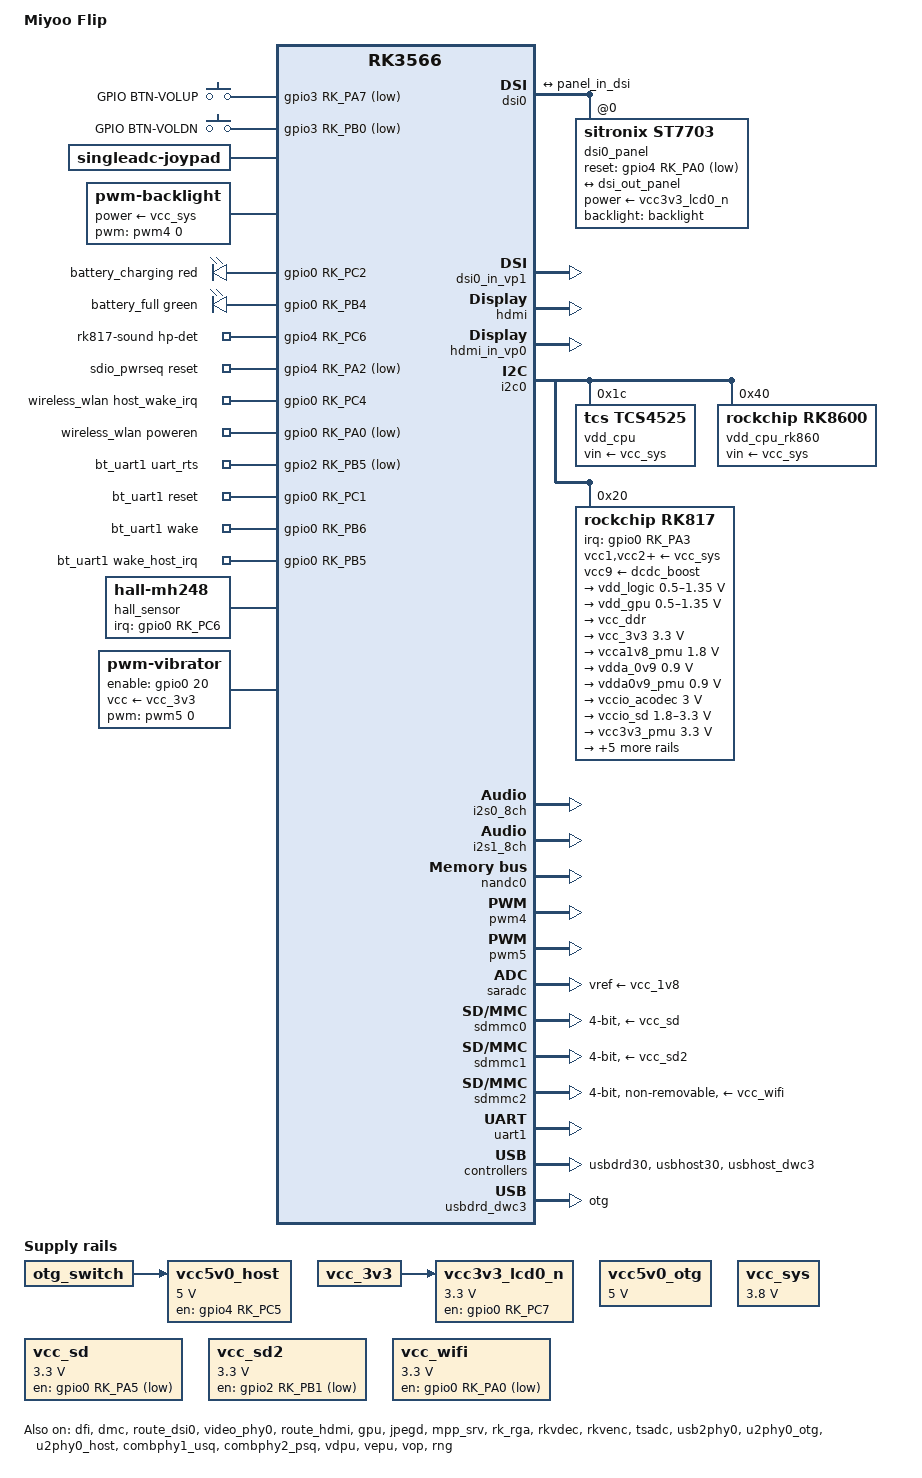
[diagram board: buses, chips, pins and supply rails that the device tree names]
// SPDX-License-Identifier: (GPL-2.0+ OR MIT)
/*
 * Copyright (c) 2020 Rockchip Electronics Co., Ltd.
 *
 */

/dts-v1/;

#include <dt-bindings/gpio/gpio.h>
#include <dt-bindings/pinctrl/rockchip.h>
#include <dt-bindings/input/rk-input.h>
#include <dt-bindings/leds/common.h>
#include <dt-bindings/sensor-dev.h>
#include <dt-bindings/display/drm_mipi_dsi.h>
#include <dt-bindings/display/rockchip_vop.h>
#include "rk3566.dtsi"
/ {
	
	model = "Miyoo Flip";
	compatible = "rockchip,rk3566-rk817-tablet", "rockchip,rk3566";

	aliases {
		mmc1 = &sdhci;
		mmc0 = &sdmmc0;
		mmc2 = &sdmmc1;
		mmc3 = &sdmmc2;
	};

	fiq_debugger: fiq-debugger {
		compatible = "rockchip,fiq-debugger";
		rockchip,serial-id = <2>;
		rockchip,wake-irq = <0>;
		/* If enable uart uses irq instead of fiq */
		rockchip,irq-mode-enable = <1>;
		rockchip,baudrate = <1500000>;  /* Only 115200 and 1500000 */
		interrupts = <GIC_SPI 252 IRQ_TYPE_LEVEL_LOW>;
		pinctrl-names = "default";
		pinctrl-0 = <&uart2m0_xfer>;
		status = "okay";
	};

	reserved-memory {
		#address-cells = <2>;
		#size-cells = <2>;
		ranges;

		cma {
			compatible = "shared-dma-pool";
			reusable;
			size = <0x0 (8 * 0x100000)>;
			linux,cma-default;
		};
	};
	
	gpio-keys-polled {
		compatible = "gpio-keys-polled";
		poll-interval = <10>;
		debounce-interval = <10>;

		pinctrl-0 = <&btn_pins_vol>;
		pinctrl-names = "default";
		
		button@0 {
			label = "GPIO BTN-VOLUP";
			linux,code = <KEY_VOLUMEUP>;
			gpios = <&gpio3 RK_PA7 GPIO_ACTIVE_LOW>;
		};
		button@1 {
			label = "GPIO BTN-VOLDN";
			linux,code = <KEY_VOLUMEDOWN>;
			gpios = <&gpio3 RK_PB0 GPIO_ACTIVE_LOW>;
		};
	};

	joypad: singleadc-joypad {
		compatible = "singleadc-joypad";

		joypad-name = "retrogame_joypad";
		joypad-product = <0x1101>;
		joypad-revision = <0x0100>;
		joypad-vendor = <0x484B>;

		status = "okay";
		
		rocknix,use-miyoo-serial-joypad;

		/* gpio pincontrol setup */
		pinctrl-names = "default";
		/* pinctrl-0 = <&btn_pins_ctrl>; */

		/* adc mux channel count */
		amux-count = <0>;

		/* poll device interval (ms), same as gpio-keys-polled */
		poll-interval = <10>;

		/* D-Pad */
		sw1 {
		        gpios = <&gpio3 RK_PA3 GPIO_ACTIVE_LOW>;
			label = "up";
			linux,code = <0x220>;
		};
		sw2 {
		        gpios = <&gpio3 RK_PA4 GPIO_ACTIVE_LOW>;
			label = "down";
			linux,code = <0x221>;
		};
		sw3 {
		        gpios = <&gpio3 RK_PA5 GPIO_ACTIVE_LOW>;
			label = "left";
			linux,code = <0x222>;
		};
		sw4 {
		        gpios = <&gpio3 RK_PA6 GPIO_ACTIVE_LOW>;
			label = "right";
			linux,code = <0x223>;
		};

		/* Face buttons */
		sw5 {
		        gpios = <&gpio3 RK_PC2 GPIO_ACTIVE_LOW>;
			label = "a";
			linux,code = <0x130>;
		};
		sw6 {
		        gpios = <&gpio3 RK_PC3 GPIO_ACTIVE_LOW>;
			label = "b";
			linux,code = <0x131>;
		};
		sw7 {
		        gpios = <&gpio3 RK_PC1 GPIO_ACTIVE_LOW>;
			label = "x";
			linux,code = <0x133>;
		};
		sw8 {
		        gpios = <&gpio3 RK_PC0 GPIO_ACTIVE_LOW>;
			label = "y";
			linux,code = <0x134>;
		};

		/* Start / Select / Menu */
		sw9 {
		        gpios = <&gpio3 RK_PB6 GPIO_ACTIVE_LOW>;
			label = "select";
			linux,code = <0x13a>;
		};
		sw10 {
		        gpios = <&gpio3 RK_PB5 GPIO_ACTIVE_LOW>;
			label = "start";
			linux,code = <0x13b>;
		};
		sw11 {
		        gpios = <&gpio3 RK_PA1 GPIO_ACTIVE_LOW>;
			label = "menu";
			linux,code = <0x13c>;
		};

		/* Shoulder buttons: L1/L2, R1/R2 */
		sw12 {
		        gpios = <&gpio3 RK_PB1 GPIO_ACTIVE_LOW>;
			label = "l1";
			linux,code = <0x136>;
		};
		sw14 {
		        gpios = <&gpio3 RK_PB2 GPIO_ACTIVE_LOW>;
			label = "l2";
			linux,code = <0x138>;
		};
		sw13 {
		        gpios = <&gpio3 RK_PB3 GPIO_ACTIVE_LOW>;
			label = "r1";
			linux,code = <0x137>;
		};
		sw15 {
		        gpios = <&gpio3 RK_PB4 GPIO_ACTIVE_LOW>;
			label = "r2";
			linux,code = <0x139>;
		};

		/* Thumb sticks: L3/R3 */
		sw16 {
		        gpios = <&gpio2 RK_PC1 GPIO_ACTIVE_HIGH>;
			label = "l3";
			linux,code = <0x13d>;
		};
		sw17 {
		        gpios = <&gpio2 RK_PC0 GPIO_ACTIVE_HIGH>;
			label = "r3";
			linux,code = <0x13e>;
		};
	};

	backlight: backlight {
		compatible = "pwm-backlight";
		pwms = <&pwm4 0 25000 0>; /// 800, 10000, 12500, 25000, 40000

		power-supply = <&vcc_sys>;
///		enable-gpios = <&gpio0 19 GPIO_ACTIVE_LOW>;

		brightness-levels = <
			  0  20  20  21  21  22  22  23
			 23  24  24  25  25  26  26  27
			 27  28  28  29  29  30  30  31
			 31  32  32  33  33  34  34  35
			 35  36  36  37  37  38  38  39
			 40  41  42  43  44  45  46  47
			 48  49  50  51  52  53  54  55
			 56  57  58  59  60  61  62  63
			 64  65  66  67  68  69  70  71
			 72  73  74  75  76  77  78  79
			 80  81  82  83  84  85  86  87
			 88  89  90  91  92  93  94  95
			 96  97  98  99 100 101 102 103
			104 105 106 107 108 109 110 111
			112 113 114 115 116 117 118 119
			120 121 122 123 124 125 126 127
			128 129 130 131 132 133 134 135
			136 137 138 139 140 141 142 143
			144 145 146 147 148 149 150 151
			152 153 154 155 156 157 158 159
			160 161 162 163 164 165 166 167
			168 169 170 171 172 173 174 175
			176 177 178 179 180 181 182 183
			184 185 186 187 188 189 190 191
			192 193 194 195 196 197 198 199
			200 201 202 203 204 205 206 207
			208 209 210 211 212 213 214 215
			216 217 218 219 220 221 222 223
			224 225 226 227 228 229 230 231
			232 233 234 235 236 237 238 239
			240 241 242 243 244 245 246 247
			248 249 250 251 252 253 254 255
		>;
		default-brightness-level = <128>;
	};

	gpio-leds {
		compatible = "gpio-leds";

		led-red {
			color = <LED_COLOR_ID_RED>;
			gpios = <&gpio0 RK_PC2 GPIO_ACTIVE_HIGH>;
			linux,default-trigger = "battery-charging";
			label = "battery_charging";
		};
		
		led-green {
			color = <LED_COLOR_ID_GREEN>;
			gpios = <&gpio0 RK_PB4 GPIO_ACTIVE_HIGH>;
			linux,default-trigger = "battery-full";
			label = "battery_full";
		};		
	};

	charge-animation {
		compatible = "rockchip,uboot-charge";
		rockchip,uboot-charge-on = <1>;
		rockchip,android-charge-on = <0>;
		rockchip,uboot-low-power-voltage = <3350>;
		rockchip,screen-on-voltage = <3400>;
		status = "okay";
	};

	vcc5v0_otg: vcc5v0-otg-regulator {
		compatible = "regulator-fixed";
		enable-active-high;
		regulator-name = "vcc5v0_otg";
		regulator-min-microvolt = <5000000>;
		regulator-max-microvolt = <5000000>;		
		regulator-always-on;
		regulator-boot-on;		
	};

	vcc5v0_host: vcc5v0-host-regulator {
		compatible = "regulator-fixed";
		regulator-name = "vcc5v0_host";
		regulator-always-on;
		regulator-boot-on;
		regulator-min-microvolt = <5000000>;
		regulator-max-microvolt = <5000000>;		
		enable-active-high;
		gpio = <&gpio4 RK_PC5 GPIO_ACTIVE_HIGH>;	/*USB_HOST_PWREN2_H*/
		vin-supply = <&otg_switch>;		
		pinctrl-names = "default";
		pinctrl-0 = <&vcc5v0_host_en>;


	};

	rk817-sound {
		compatible = "simple-audio-card";
		pinctrl-names = "default";
		pinctrl-0 = <&hp_det>;
		
		simple-audio-card,format = "i2s";
		simple-audio-card,name = "rockchip,rk817-codec";
		simple-audio-card,mclk-fs = <256>;

		simple-audio-card,hp-det-gpio = <&gpio4 RK_PC6 GPIO_ACTIVE_HIGH>;

		simple-audio-card,cpu {
			sound-dai = <&i2s1_8ch>;
		};
		simple-audio-card,codec {
			sound-dai = <&rk817_codec>;
		};
	};

	hdmi_sound: hdmi-sound {
		compatible = "rockchip,hdmi";
		rockchip,mclk-fs = <128>;
		rockchip,card-name = "rockchip,hdmi";
		rockchip,cpu = <&i2s0_8ch>;
		rockchip,codec = <&hdmi>;
		rockchip,jack-det;
	};

	vcc_sys: vcc_sys {
		compatible = "regulator-fixed";
		regulator-name = "vcc3v8_sys";
		regulator-always-on;
		regulator-boot-on;
		regulator-min-microvolt = <3800000>;
		regulator-max-microvolt = <3800000>;
	};

	vcc_sd: vcc_sd {
		compatible = "regulator-fixed";
		enable-active-low;
		enable-gpio = <&gpio0 RK_PA5 GPIO_ACTIVE_LOW>;	/*SDMMC_PWREN_L*/
		regulator-min-microvolt = <3300000>;
		regulator-max-microvolt = <3300000>;
		pinctrl-0 = <&vcc_sd_h>;		
		pinctrl-names = "default";
		regulator-name = "vcc_sd";
	};

	vcc_sd2: vcc_sd2 {
		compatible = "regulator-fixed";
		enable-active-low;
		enable-gpio = <&gpio2 RK_PB1 GPIO_ACTIVE_LOW>;	/*SDMMC1_PWREN_L*/
		regulator-min-microvolt = <3300000>;
		regulator-max-microvolt = <3300000>;
		pinctrl-names = "default";
		pinctrl-0 = <&vcc_sd2_h>;
		regulator-name = "vcc_sd2";
	};

	vcc3v3_lcd0_n: vcc3v3-lcd0-n {
		compatible = "regulator-fixed";
		regulator-name = "vcc3v3_lcd0_n";
		regulator-min-microvolt = <3300000>;
		regulator-max-microvolt = <3300000>;
		enable-active-high;
		pinctrl-0 = <&lcd_enable_gpio>;
		pinctrl-names = "default";
		gpio = <&gpio0 RK_PC7 GPIO_ACTIVE_HIGH>;	/*LCD_PWREN_H*/
		vin-supply = <&vcc_3v3>;
		
		regulator-state-mem {
			regulator-off-in-suspend;
		};

	};
	
	vcc_wifi: regulator-vcc-wifi {
		compatible = "regulator-fixed";
		gpio = <&gpio0 RK_PA0 GPIO_ACTIVE_LOW>;
		pinctrl-0 = <&vcc_wifi_h>;
		pinctrl-names = "default";
		regulator-always-on;
		regulator-boot-on;
		regulator-min-microvolt = <3300000>;
		regulator-max-microvolt = <3300000>;
		regulator-name = "vcc_wifi";
	};
	
	sdio_pwrseq: sdio-pwrseq {
		compatible = "mmc-pwrseq-simple";
		clocks = <&rk817 1>;
		clock-names = "ext_clock";
		pinctrl-names = "default";
		pinctrl-0 = <&wifi_enable_h>;		
		post-power-on-delay-ms = <200>;
		reset-gpios = <&gpio4 RK_PA2 GPIO_ACTIVE_LOW>;
	};

	wireless_wlan: wireless-wlan {
		compatible = "wlan-platdata";
		rockchip,grf = <&grf>;
		wifi_chip_type = "rtl8733bu";
		pinctrl-names = "default";
		pinctrl-0 = <&wifi_host_wake_irq>;
		WIFI,host_wake_irq = <&gpio0 RK_PC4 GPIO_ACTIVE_HIGH>;
		WIFI,poweren_gpio = <&gpio0 RK_PA0 GPIO_ACTIVE_LOW>;	/*WIFI_PWREN_L*/
		status = "okay";
	};

	bt_uart1: wireless_bluetooth: wireless-bluetooth {
		compatible = "bluetooth-platdata";
		clocks = <&rk817 1>;
		clock-names = "ext_clock";
		//wifi-bt-power-toggle;
		uart_rts_gpios = <&gpio2 RK_PB5 GPIO_ACTIVE_LOW>;
		pinctrl-names = "default", "rts_gpio";
		pinctrl-0 = <&uart1m0_rtsn>,
			    <&bt_reset_gpio>,
			    <&bt_wake_gpio>,
			    <&bt_irq_gpio>;
		pinctrl-1 = <&uart1_gpios>;
		BT,reset_gpio    = <&gpio0 RK_PC1 GPIO_ACTIVE_HIGH>;
		BT,wake_gpio     = <&gpio0 RK_PB6 GPIO_ACTIVE_HIGH>;
		BT,wake_host_irq = <&gpio0 RK_PB5 GPIO_ACTIVE_HIGH>;
		status = "okay";
	};

	hall_sensor: hall-mh248 {
		compatible = "hall-mh248";
		irq-gpio = <&gpio0 RK_PC6 IRQ_TYPE_EDGE_BOTH>;
		hall-active = <1>;
		status = "okay";
	};

	vibrator: pwm-vibrator {
		compatible = "pwm-vibrator";
		pwm-names = "enable";
		pwms = <&pwm5 0 1000000000 0>;
		
		vcc-supply = <&vcc_3v3>;
		enable-gpios = <&gpio0 20 GPIO_ACTIVE_HIGH>;
	};
};

&cpu0 {
	cpu-supply = <&vdd_cpu>;
};

&csi2_dphy_hw {
	status = "disabled";
};

&csi2_dphy0 {
	status = "disabled";
};


&vp0 {
	rockchip,plane-mask = <(1 << ROCKCHIP_VOP2_CLUSTER0
			| 1 << ROCKCHIP_VOP2_CLUSTER1
			| 1 << ROCKCHIP_VOP2_ESMART0
			| 1 << ROCKCHIP_VOP2_ESMART1
			| 1 << ROCKCHIP_VOP2_SMART0
			| 1 << ROCKCHIP_VOP2_SMART1)>;
	rockchip,primary-plane = <ROCKCHIP_VOP2_SMART0>;
};

/*
&vp0 {
			rockchip,plane-mask = <0x2a>;
			rockchip,primary-plane = <0x5>;
};

&vp1 {
			rockchip,plane-mask = <0x15>;
			rockchip,primary-plane = <0x4>;
};
*/

&dfi {
	status = "okay";
};

&dmc {
	center-supply = <&vdd_logic>;
	status = "okay";
};

&dsi0 {
	status = "okay";
	rockchip,lane-rate = <500>;

	dsi0_panel: panel@0 {
		compatible = "sitronix,st7703", "simple-panel-dsi";
                reg = <0>;
                power-supply = <&vcc3v3_lcd0_n>;
		backlight = <&backlight>;
		reset-gpios = <&gpio4 RK_PA0 GPIO_ACTIVE_LOW>;
		pinctrl-names = "default";
		pinctrl-0 = <&lcd_rst_gpio>;
                
		reset-delay-ms = <160>;
		enable-delay-ms = <200>;
		prepare-delay-ms = <0>;
		init-delay-ms = <200>;
		unprepare-delay-ms = <20>;
		disable-delay-ms = <20>;

		width-mm = <68>;
		height-mm = <121>;
		
		dsi,flags = <(MIPI_DSI_MODE_VIDEO | MIPI_DSI_MODE_VIDEO_BURST |
			MIPI_DSI_MODE_LPM | MIPI_DSI_MODE_NO_EOT_PACKET)>;
		dsi,format = <MIPI_DSI_FMT_RGB888>;
		dsi,lanes  = <2>;
		
		panel-init-sequence = [
			05 FA 01 11
			29 00 04 B9 F1 12 83 // changed from 87
			29 00 06 B1 00 00 00 DA 80 ///added
			29 00 04 B2 78 04 70
			29 00 0B B3 10 10 28 28 03 FF 00 00 00 00
			23 00 02 B4 80
			29 00 03 B5 0A 0A
			29 00 03 B6 8D 8D ///added
			29 00 05 B8 26 22 F0 13			
			29 00 1C BA 31 81 05 F9 0E 0E 20 00 00
				 00 00 00 00 00 44 25 00 91 0A
				 00 00 01 4F 01 00 00 37
			23 00 02 BC 47				 
			29 00 06 BF 02 11 00 ///removed 80 04
			29 00 0A C0 73 73 50 50 00 00 12 73 00
			23 00 02 CC 0B
			29 00 0F E3 07 07 0B 0B 0B 0B 00 00 00 
				 00 FF 04 C0 10
			29 00 12 C1 73 00 32 32 77 F4 77 77 CC
				 CC FF FF 11 11 00 00 32
			29 00 0D C7 10 00 0A 00 00 00 00 00 ED C5 00 A5
			29 00 05 C8 10 40 1E 03
			29 00 08 E1 11 11 91 00 00 00 00
			29 00 40 E9 C8 10 02 00 00 B0 B1 11 31 
				 23 28 80 B0 B1 27 08 00 04 02 
				 00 00 00 00 04 02 00 00 00 88 
				 88 BA 60 24 08 88 88 88 88 88 
				 88 88 BA 71 35 18 88 88 88 88 
				 88 00 00 00 01 00 00 00 00 00 
				 00 00 00 00 
			29 00 3E EA 97 0A 82 02 03 07 00 00 00
				 00 00 00 81 88 BA 17 53 88 88 
				 88 88 88 88 80 88 BA 06 42 88 
				 88 88 88 88 88 23 00 00 02 A5 
				 00 00 00 00 00 00 00 00 00 00 
				 00 00 00 00 00 00 00 00 00 00
				 00 00
			29 00 23 E0 00 05 09 29 3C 3F 3B 37 05
				 0A 0C 10 13 10 13 12 1A 00 05
				 09 29 3C 3F 3B 37 05 0A 0C 10 
				 13 10 13 12 1A
			29 00 04 EF FF FF 01
			05 20 01 29 
		];

		panel-exit-sequence = [
			05 00 01 28
			05 00 01 10
		];

		disp_timings0: display-timings {
                        native-mode = <&dsi0_timing0>;
                        dsi0_timing0: timing0 {
				clock-frequency = <32000000>;
				hactive = <640>;
				vactive = <480>;
				hback-porch = <120>;
				hfront-porch = <150>;
				vback-porch = <8>;
				vfront-porch = <20>;
				hsync-len = <120>;
				vsync-len = <6>;
				hsync-active = <0>;
				vsync-active = <0>;
				de-active = <0>;
				pixelclk-active = <0>;
                    	};
               };

		ports {
			#address-cells = <1>;
			#size-cells = <0>;

			port@0 {
				reg = <0>;
				panel_in_dsi: endpoint {
					remote-endpoint = <&dsi_out_panel>;
				};
			};
		};
	};

	ports {
		#address-cells = <1>;
		#size-cells = <0>;

		port@1 {
			reg = <1>;
			dsi_out_panel: endpoint {
				remote-endpoint = <&panel_in_dsi>;
			};
		};
	};

};

&dsi0_in_vp1 {
	status = "okay";
};


&route_dsi0 {
	status = "okay";
	connect = <&vp1_out_dsi0>;
};

&video_phy0 {
	status = "okay";
};

&hdmi {
	status = "okay";	
	rockchip,phy-table =
		<92812500  0x8009 0x0000 0x0270>,
		<165000000 0x800b 0x0000 0x026d>,
		<185625000 0x800b 0x0000 0x01ed>,
		<297000000 0x800b 0x0000 0x01ad>,
		<594000000 0x8029 0x0000 0x0088>,
		<000000000 0x0000 0x0000 0x0000>;	
};

&hdmi_in_vp0 {
	status = "okay";
};

&route_hdmi {
	status = "okay";
	connect = <&vp0_out_hdmi>;
};

&gpu {
	mali-supply = <&vdd_gpu>;
	status = "okay";
};

&i2c0 {
	status = "okay";

	vdd_cpu: tcs4525@1c {
		compatible = "tcs,tcs4525";
		reg = <0x1c>;
		vin-supply = <&vcc_sys>;
		regulator-compatible = "fan53555-reg";
		regulator-name = "vdd_cpu";
		regulator-min-microvolt = <712500>;
		regulator-max-microvolt = <1390000>;
		regulator-init-microvolt = <900000>;
		regulator-ramp-delay = <2300>;
		fcs,suspend-voltage-selector = <1>;
		regulator-boot-on;
		regulator-always-on;
		regulator-state-mem {
			regulator-off-in-suspend;
		};
	};

	    vdd_cpu_rk860: rk8600@40{
		compatible = "rockchip,rk8600";
		reg = <0x40>;
		vin-supply = <&vcc_sys>;
		regulator-compatible = "rk860x-reg";
		regulator-name = "vdd_cpu";
		regulator-min-microvolt = <712500>;
		regulator-max-microvolt = <1390000>;
		regulator-init-microvolt = <900000>;
		regulator-ramp-delay = <2300>;
		rockchip,suspend-voltage-selector = <1>;
		regulator-boot-on;
		regulator-always-on;
		regulator-state-mem {
		    regulator-off-in-suspend;
		};
	};

	rk817: pmic@20 {
		compatible = "rockchip,rk817";
		reg = <0x20>;
		interrupt-parent = <&gpio0>;
		interrupts = <RK_PA3 IRQ_TYPE_LEVEL_LOW>;

		pinctrl-names = "default", "pmic-sleep",
				"pmic-power-off", "pmic-reset";
		pinctrl-0 = <&pmic_int>;
		pinctrl-1 = <&soc_slppin_slp>, <&rk817_slppin_slp>;
		pinctrl-2 = <&soc_slppin_gpio>, <&rk817_slppin_pwrdn>;
		pinctrl-3 = <&soc_slppin_gpio>, <&rk817_slppin_rst>;
		
		rockchip,system-power-controller;
		wakeup-source;
		#clock-cells = <1>;
		clock-output-names = "rk808-clkout1", "rk808-clkout2";
		//fb-inner-reg-idxs = <2>;
		/* 1: rst regs (default in codes), 0: rst the pmic */
		pmic-reset-func = <0>;
		/* not save the PMIC_POWER_EN register in uboot */
		not-save-power-en = <1>;

		vcc1-supply = <&vcc_sys>;
		vcc2-supply = <&vcc_sys>;
		vcc3-supply = <&vcc_sys>;
		vcc4-supply = <&vcc_sys>;
		vcc5-supply = <&vcc_sys>;
		vcc6-supply = <&vcc_sys>;
		vcc7-supply = <&vcc_sys>;
		vcc8-supply = <&vcc_sys>;
		vcc9-supply = <&dcdc_boost>;

		pwrkey {
			status = "okay";
		};

		pinctrl_rk8xx: pinctrl_rk8xx {
			gpio-controller;
			#gpio-cells = <2>;

			rk817_slppin_null: rk817_slppin_null {
				pins = "gpio_slp";
				function = "pin_fun0";
			};

			rk817_slppin_slp: rk817_slppin_slp {
				pins = "gpio_slp";
				function = "pin_fun1";
			};

			rk817_slppin_pwrdn: rk817_slppin_pwrdn {
				pins = "gpio_slp";
				function = "pin_fun2";
			};

			rk817_slppin_rst: rk817_slppin_rst {
				pins = "gpio_slp";
				function = "pin_fun3";
			};
		};

		regulators {
			vdd_logic: DCDC_REG1 {
				regulator-always-on;
				regulator-boot-on;
				regulator-min-microvolt = <500000>;
				regulator-max-microvolt = <1350000>;
				regulator-init-microvolt = <900000>;
				regulator-ramp-delay = <6001>;
				regulator-initial-mode = <0x2>;
				regulator-name = "vdd_logic";
				regulator-state-mem {
					regulator-off-in-suspend;
				};
			};

			vdd_gpu: DCDC_REG2 {
				regulator-always-on;
				regulator-boot-on;
				regulator-min-microvolt = <500000>;
				regulator-max-microvolt = <1350000>;
				regulator-init-microvolt = <900000>;
				regulator-ramp-delay = <6001>;
				regulator-initial-mode = <0x2>;
				regulator-name = "vdd_gpu";
				regulator-state-mem {
					regulator-off-in-suspend;
				};
			};

			vcc_ddr: DCDC_REG3 {
				regulator-always-on;
				regulator-boot-on;
				regulator-initial-mode = <0x2>;
				regulator-name = "vcc_ddr";
				regulator-state-mem {
					regulator-on-in-suspend;
				};
			};

			vcc_3v3: DCDC_REG4 {
				regulator-always-on;
				regulator-boot-on;
				regulator-min-microvolt = <3300000>;
				regulator-max-microvolt = <3300000>;
				regulator-initial-mode = <0x2>;
				regulator-name = "vcc_3v3";
				regulator-state-mem {
					regulator-off-in-suspend;
				};
			};

			vcca1v8_pmu: LDO_REG1 {
				regulator-always-on;
				regulator-boot-on;
				regulator-min-microvolt = <1800000>;
				regulator-max-microvolt = <1800000>;
				regulator-name = "vcca1v8_pmu";
				regulator-state-mem {
					regulator-on-in-suspend;
					regulator-suspend-microvolt = <1800000>;
				};
			};

			vdda_0v9: LDO_REG2 {
				regulator-always-on;
				regulator-boot-on;
				regulator-min-microvolt = <900000>;
				regulator-max-microvolt = <900000>;
				regulator-name = "vdda_0v9";
				regulator-state-mem {
					regulator-off-in-suspend;
				};
			};

			vdda0v9_pmu: LDO_REG3 {
				regulator-always-on;
				regulator-boot-on;
				regulator-min-microvolt = <900000>;
				regulator-max-microvolt = <900000>;
				regulator-name = "vdda0v9_pmu";
				regulator-state-mem {
					regulator-on-in-suspend;
					regulator-suspend-microvolt = <900000>;
				};
			};

			vccio_acodec: LDO_REG4 {
				regulator-always-on;
				regulator-boot-on;
				regulator-min-microvolt = <3000000>;
				regulator-max-microvolt = <3000000>;
				regulator-name = "vccio_acodec";
				regulator-state-mem {
					regulator-off-in-suspend;
				};
			};

			vccio_sd: LDO_REG5 {
				regulator-always-on;
				regulator-boot-on;
				regulator-min-microvolt = <1800000>;
				regulator-max-microvolt = <3300000>;
				regulator-name = "vccio_sd";
				regulator-state-mem {
					regulator-off-in-suspend;
				};
			};

			vcc3v3_pmu: LDO_REG6 {
				regulator-always-on;
				regulator-boot-on;
				regulator-min-microvolt = <3300000>;
				regulator-max-microvolt = <3300000>;
				regulator-name = "vcc3v3_pmu";
				regulator-state-mem {
					regulator-on-in-suspend;
					regulator-suspend-microvolt = <3000000>;
				};
			};

			vcc_1v8: LDO_REG7 {
				regulator-always-on;
				regulator-boot-on;
				regulator-min-microvolt = <1800000>;
				regulator-max-microvolt = <1800000>;
				regulator-name = "vcc_1v8";
				regulator-state-mem {
					regulator-off-in-suspend;
				};
			};

			vcc1v8_dvp: LDO_REG8 {
				regulator-always-on;
				regulator-boot-on;
				regulator-min-microvolt = <1800000>;
				regulator-max-microvolt = <1800000>;
				regulator-name = "vcc1v8_dvp";
				regulator-state-mem {
					regulator-off-in-suspend;
				};
			};

			vcc2v8_dvp: LDO_REG9 {
				regulator-always-on;
				regulator-boot-on;
				regulator-min-microvolt = <1800000>;
				regulator-max-microvolt = <3300000>;
				regulator-name = "vcc2v8_dvp";
				regulator-state-mem {
					regulator-off-in-suspend;
				};
			};

			dcdc_boost: BOOST {
				regulator-always-on;
				regulator-boot-on;
				regulator-min-microvolt = <4700000>;
				regulator-max-microvolt = <5400000>;
				regulator-name = "boost";
				regulator-state-mem {
					regulator-off-in-suspend;
				};
			};

			otg_switch: OTG_SWITCH {
				regulator-name = "otg_switch";
				regulator-state-mem {
					regulator-off-in-suspend;
				};
			};
		};

		battery {
			compatible = "rk817,battery";
			ocv_table  = <3378 3426 3469 3500 3525 3547 3566 
				      3587 3609 3638 3676 3722 3773 3816
				      3849 3883 3930 3967 3998 4057 4150>;
			design_capacity = <3527>;
			design_qmax = <3880>;
			bat_res = <91>;
			sleep_enter_current = <300>;
			sleep_exit_current = <300>;
			sleep_filter_current = <100>;
			power_off_thresd = <3000>;
			zero_algorithm_vol = <3300>;
			fb_temperature = <105>;			
			max_soc_offset = <60>;
			energy_mode = <0>;			
			monitor_sec = <5>;
			sample_res = <10>;
			virtual_power = <0>;
			low_power_sleep = <1>;
		};

		charger {
			compatible = "rk817,charger";
			min_input_voltage = <4500>;
			max_input_current = <2500>;
			max_chrg_current = <2500>;
			max_chrg_voltage = <4200>;
			chrg_term_mode = <0>;
			chrg_finish_cur = <300>;
			virtual_power = <0>;
			dc_det_adc = <0>;
			power_dc2otg = <1>;
			sample_res = <10>;
			otg5v_suspend_enable = <1>;
			extcon = <&usb2phy0>;
			gate_function_disable = <1>;
		};

		rk817_codec: codec {
			#sound-dai-cells = <0>;
			compatible = "rockchip,rk817-codec";
			clocks = <&cru I2S1_MCLKOUT>;
			clock-names = "mclk";
			assigned-clocks = <&cru I2S1_MCLKOUT>, <&cru I2S1_MCLK_TX_IOE>;
			assigned-clock-rates = <12288000>;
			assigned-clock-parents = <&cru I2S1_MCLKOUT_TX>, <&cru I2S1_MCLKOUT_TX>;
			pinctrl-names = "default";
			pinctrl-0 = <&i2s1m0_mclk>;
			hp-volume = <20>;
			spk-volume = <3>;
			out-l2spk-r2hp;
			spk-ctl-gpios = <&gpio4 RK_PC2 GPIO_ACTIVE_LOW>;
			status = "okay";
		};
	};
};

&i2c2 {
	status = "disabled";
	pinctrl-0 = <&i2c2m1_xfer>;
};

&i2c3 {
	status = "disabled";
	pinctrl-names = "default";
	pinctrl-0 = <&i2c3m1_xfer>;
	clock-frequency = <400000>;
	i2c-scl-rising-time-ns = <138>;
	i2c-scl-falling-time-ns = <4>;

};

&i2c5 {
	status = "disabled";
	clock-frequency = <400000>;
	i2c-scl-rising-time-ns = <144>;
	i2c-scl-falling-time-ns = <4>;

};

&i2s0_8ch {
	status = "okay";
};

&i2s1_8ch {
	status = "okay";
	rockchip,clk-trcm = <1>;
	pinctrl-names = "default";
	pinctrl-0 = <&i2s1m0_sclktx
		     &i2s1m0_lrcktx
		     &i2s1m0_sdi0
		     &i2s1m0_sdo0>;
};

&jpegd {
	status = "okay";
};

&jpegd_mmu {
	status = "okay";
};

&mpp_srv {
	status = "okay";
};

&nandc0 {
	status = "okay";
};

&pinctrl {

	gpio-control {
		btn_pins_vol: btn-pins-vol {
			rockchip,pins =
				<3 RK_PA7 RK_FUNC_GPIO &pcfg_pull_up>,
				<3 RK_PB0 RK_FUNC_GPIO &pcfg_pull_up>;
		};
	};

	headphone {
		hp_det: hp-det {
			rockchip,pins = <4 RK_PC6 RK_FUNC_GPIO &pcfg_pull_up>;
		};
	};

	lcd {
		lcd_rst_gpio: lcd-rst-gpio {
			rockchip,pins = <4 RK_PA0 RK_FUNC_GPIO &pcfg_pull_none>;
		};

		lcd_enable_gpio: lcd-enable-gpio {
			rockchip,pins = <0 RK_PC7 RK_FUNC_GPIO &pcfg_pull_none>;
		};
	};

	pmic {
		pmic_int: pmic_int {
			rockchip,pins =
				<0 RK_PA3 RK_FUNC_GPIO &pcfg_pull_up>;
		};

		soc_slppin_gpio: soc_slppin_gpio {
			rockchip,pins =
				<0 RK_PA2 RK_FUNC_GPIO &pcfg_output_low_pull_down>;
		};

		soc_slppin_slp: soc_slppin_slp {
			rockchip,pins =
				<0 RK_PA2 1 &pcfg_pull_up>;
		};

		soc_slppin_rst: soc_slppin_rst {
			rockchip,pins =
				<0 RK_PA2 2 &pcfg_pull_none>;
		};
	};

	sdio-pwrseq {
		wifi_enable_h: wifi-enable-h {
			rockchip,pins = <4 RK_PA2 RK_FUNC_GPIO &pcfg_pull_none>;
		};
	};
	
	vcc-wifi {
		vcc_wifi_h: vcc-wifi-h {
			rockchip,pins =
				<0 RK_PA0 RK_FUNC_GPIO &pcfg_pull_none>;
		};
	};

	wireless-wlan {
		wifi_host_wake_irq: wifi-host-wake-irq {
			rockchip,pins = <0 RK_PC4 RK_FUNC_GPIO &pcfg_pull_down>;
		};
	};

	wireless-bluetooth {
		bt_reset_gpio: bt-reset-gpio {
			rockchip,pins = <0 RK_PC1 RK_FUNC_GPIO &pcfg_pull_none>;
		};

		bt_wake_gpio: bt-wake-gpio {
			rockchip,pins = <0 RK_PB6 RK_FUNC_GPIO &pcfg_pull_none>;
		};

		bt_irq_gpio: bt-irq-gpio {
			rockchip,pins = <0 RK_PB5 RK_FUNC_GPIO &pcfg_pull_down>;
		};
		
		uart1_gpios: uart1-gpios {
			rockchip,pins = <2 RK_PB5 RK_FUNC_GPIO &pcfg_pull_none>;
		};
	};
	
	usb {
         	vcc5v0_host_en: vcc5v0-host-en {
                	rockchip,pins = <4 RK_PC4 RK_FUNC_GPIO &pcfg_pull_none>;
		};

         	vcc5v0_otg_en: vcc5v0-otg-en {
                	rockchip,pins = <4 RK_PC5 RK_FUNC_GPIO &pcfg_pull_none>;
         	}; 
	};
	
	led {
		charge_led_gpio:charge-led-gpio{
                 rockchip,pins = <4 RK_PB4 RK_FUNC_GPIO &pcfg_pull_none>,
                 		 <4 RK_PB5 RK_FUNC_GPIO &pcfg_pull_none>,
                                 <4 RK_PB6 RK_FUNC_GPIO &pcfg_pull_none>;
		};
	
	};
	
	vcc-sd {

		vcc_sd_h: vcc_sd_h {
				rockchip,pins = <0 0x05 RK_FUNC_GPIO &pcfg_pull_none>;
			};

		vcc_sd2_h: vcc_sd2_h {
				rockchip,pins = <2 0x09 RK_FUNC_GPIO &pcfg_pull_none>;
			};
		};	
};

&pmu_io_domains {
	status = "okay";
	pmuio2-supply = <&vcc3v3_pmu>;
	vccio1-supply = <&vccio_acodec>;
	vccio3-supply = <&vccio_sd>;
	vccio4-supply = <&vcc_3v3>;
	vccio5-supply = <&vcc_1v8>;
	vccio6-supply = <&vcc_1v8>;
	vccio7-supply = <&vcc_3v3>;
};

&pwm4 {
	status = "okay";
};

&pwm5 {
	status = "okay";
};

&rk_rga {
	status = "okay";
};

&rkisp {
	status = "disabled";
};

&rkisp_mmu {
	status = "disabled";
};

&rkisp_vir0 {
	status = "disabled";
};

&rkvdec {
	status = "okay";
};

&rkvdec_mmu {
	status = "okay";
};

&rkvenc {
	status = "okay";
};

&rkvenc_mmu {
	status = "okay";
};

&saradc {
	status = "okay";
	vref-supply = <&vcc_1v8>;
};

&sfc {
	status = "disabled";

	flash@0 {
		compatible = "spi-nand";
		reg = <0>;
		spi-max-frequency = <75000000>;
		spi-rx-bus-width = <4>;
		spi-tx-bus-width = <1>;
	};
};

/* TF1 */
&sdmmc0 {
	max-frequency = <200000000>;
	supports-sd;
	no-sdio;
	bus-width = <4>;
	cap-mmc-highspeed;
	cap-sd-highspeed;
	disable-wp;
	sd-uhs-sdr104;
	vmmc-supply = <&vcc_sd>;
	vqmmc-supply = <&vccio_sd>;
	pinctrl-names = "default";
	pinctrl-0 = <&sdmmc0_bus4 &sdmmc0_clk &sdmmc0_cmd &sdmmc0_det>;
	status = "okay";
};

/* TF2 */
&sdmmc1 {
    max-frequency = <200000000>;
    supports-sd;
    bus-width = <4>;
    cap-mmc-highspeed;
    cap-sd-highspeed;
    disable-wp;
    sd-uhs-sdr12;
    sd-uhs-sdr25;
    sd-uhs-sdr50;    
    sd-uhs-sdr104;
    vmmc-supply = <&vcc_sd2>;
    vqmmc-supply = <&vccio_sd>;
    pinctrl-names = "default";
    pinctrl-0 = <&sdmmc1_bus4>, <&sdmmc1_cmd>, <&sdmmc1_clk>, <&sdmmc1_det>;
    //rockchip,default-sample-phase = <180>;
    status = "okay";
};

/* SDIO Wifi/BT */
&sdmmc2 {
	max-frequency = <150000000>;
	no-sd;
	no-mmc;
	supports-sdio;
	bus-width = <4>;
	disable-wp;
	cap-sd-highspeed;
	cap-sdio-irq;
	keep-power-in-suspend;
	mmc-pwrseq = <&sdio_pwrseq>;
	non-removable;
	pinctrl-names = "default";
	pinctrl-0 = <&sdmmc2m0_bus4>, <&sdmmc2m0_cmd>, <&sdmmc2m0_clk>;
	sd-uhs-sdr104;
	vmmc-supply = <&vcc_wifi>;
	vqmmc-supply = <&vcca1v8_pmu>;	
	rockchip,default-sample-phase = <90>;
	status = "okay";
};

&tsadc {
	rockchip,hw-tshut-mode = <1>;
	rockchip,hw-tshut-polarity = <0>;
	status = "okay";
};


&uart1 {
	status = "okay";
	pinctrl-names = "default";
	pinctrl-0 = <&uart1m0_xfer &uart1m0_ctsn>;
};


/**************************3.0 otg***********************************/
&usbdrd30 { 
	status = "okay";
};

&usbdrd_dwc3 { 
	dr_mode = "otg";
	extcon = <&usb2phy0>;
	status = "okay";
};
/**************************3.0 host***********************************/
&usbhost30 {
	status = "okay";
};

&usbhost_dwc3 {
	status = "okay";
};

/**************************usbphy***********************************/
&usb2phy0 {
	status = "okay";
	pinctrl-names = "default";	
};

&u2phy0_otg {
	vbus-supply = <&vcc5v0_otg>;
	status = "okay";
};

&u2phy0_host {
	status = "okay";
	phy-supply = <&vcc5v0_host>;
};

&combphy1_usq {
	status = "okay";
};

&combphy2_psq {
	status = "okay";
};

/*************************************************************/

&vdpu {
	status = "okay";
};

&vdpu_mmu {
	status = "okay";
};

&vepu {
	status = "okay";
};

&vepu_mmu {
	status = "okay";
};

&vop {
	status = "okay";
	assigned-clocks = <&cru DCLK_VOP0>, <&cru DCLK_VOP1>;
	assigned-clock-parents = <&pmucru PLL_HPLL>, <&cru PLL_VPLL>;
	support-multi-area;
	vop-supply = <&vdd_logic>;
};

&vop_mmu {
	status = "okay";
};

&rng {
	status = "okay";
};

&rockchip_suspend {
	status = "okay";
	rockchip,sleep-debug-en = <0>;
};
